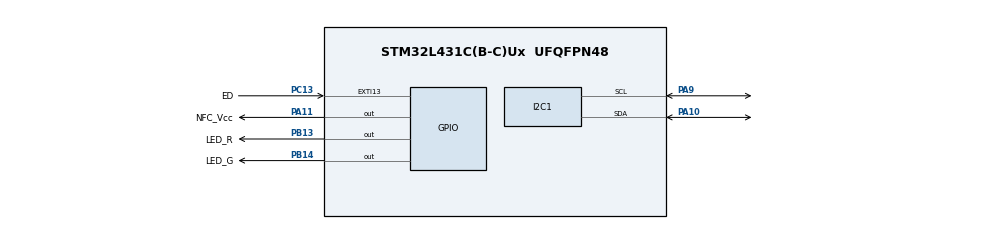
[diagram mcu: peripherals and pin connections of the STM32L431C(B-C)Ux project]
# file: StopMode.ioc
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I2C1.Timing=0x00100D14
Mcu.Family=STM32L4
Mcu.Name=STM32L431C(B-C)Ux
Mcu.Package=UFQFPN48
NVIC.EXTI15_10_IRQn=true\:0\:0\:false\:false\:true\:true\:true\:true
NVIC.PVD_PVM_IRQn=true\:0\:0\:false\:false\:true\:true\:true\:true
NVIC.PriorityGroup=NVIC_PRIORITYGROUP_4
PA10.Mode=I2C
PA10.Signal=I2C1_SDA
PA11.GPIO_Label=NFC_Vcc
PA11.Signal=GPIO_Output
PA9.Mode=I2C
PA9.Signal=I2C1_SCL
PB13.GPIO_Label=LED_R
PB13.Signal=GPIO_Output
PB14.GPIO_Label=LED_G
PB14.Signal=GPIO_Output
PC13.GPIO_Label=ED
PC13.GPIO_ModeDefaultEXTI=GPIO_MODE_IT_FALLING
PC13.Signal=GPXTI13
ProjectManager.HeapSize=0x200
ProjectManager.StackSize=0x400
ProjectManager.TargetToolchain=STM32CubeIDE
RCC.HSE_VALUE=8000000
RCC.HSI48_VALUE=48000000
RCC.HSI_VALUE=16000000
RCC.LSE_VALUE=32768
RCC.MSI_VALUE=4000000
RCC.VCOOutputFreq_Value=32000000
board=custom

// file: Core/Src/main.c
/* USER CODE BEGIN Header */
/**
  ******************************************************************************
  * @file           : main.c
  * @brief          : Main program body
  ******************************************************************************
  * @attention
  *
  * Copyright (c) 2025 STMicroelectronics.
  * All rights reserved.
  *
  * This software is licensed under terms that can be found in the LICENSE file
  * in the root directory of this software component.
  * If no LICENSE file comes with this software, it is provided AS-IS.
  *
  ******************************************************************************
  */
/* USER CODE END Header */
#include "main.h"

/* USER CODE BEGIN PD */
#define NTP_ADDRESS  0xA8
/* USER CODE END PD */

I2C_HandleTypeDef hi2c1;

/* USER CODE BEGIN PV */
uint8_t tx_buffer[6] = {0x10, 0x3D, 0b00001101, 0x00, 0x01, 0x00};
uint8_t rx_address[2] = {0x00, 0x02};
uint8_t rx_buffer[4];
/* USER CODE END PV */

void SystemClock_Config(void);
static void MX_GPIO_Init(void);
static void MX_I2C1_Init(void);

int main(void)
{

  /* MCU Configuration--------------------------------------------------------*/

  /* Reset of all peripherals, Initializes the Flash interface and the Systick. */
  HAL_Init();

  /* Configure the system clock */
  SystemClock_Config();

  /* Initialize all configured peripherals */
  MX_GPIO_Init();
  MX_I2C1_Init();
  /* USER CODE BEGIN 2 */

  HAL_GPIO_WritePin(LED_G_GPIO_Port, LED_G_Pin, 1);

  HAL_GPIO_WritePin(NFC_Vcc_GPIO_Port, NFC_Vcc_Pin, 1);

  //tx_buffer = {0x00, 0x02, 0xAA, 0xBB, 0xCC, 0xDD};
  HAL_I2C_Master_Transmit(&hi2c1, NTP_ADDRESS, tx_buffer, 6, 2); //HaL_MAX_DELAY
  HAL_Delay(2);// Mer än 1. Oklart varför

  //rx_address = {0x00, 0x02};
  HAL_I2C_Master_Transmit(&hi2c1, NTP_ADDRESS, rx_address, 2, 2);
  HAL_I2C_Master_Receive(&hi2c1, NTP_ADDRESS, rx_buffer, 4, 1);

  //*/

  HAL_GPIO_WritePin(NFC_Vcc_GPIO_Port, NFC_Vcc_Pin, 0);

  HAL_GPIO_WritePin(LED_R_GPIO_Port, LED_R_Pin, 1);

  HAL_GPIO_WritePin(LED_G_GPIO_Port, LED_G_Pin, 0);

  HAL_SuspendTick();
  HAL_PWREx_EnterSTOP2Mode(PWR_SLEEPENTRY_WFI);
  HAL_ResumeTick();
  HAL_GPIO_WritePin(LED_R_GPIO_Port, LED_R_Pin, 0);
  //HAL_GPIO_WritePin(LED_G_GPIO_Port, LED_G_Pin, 1);

  rx_address[0] = 0x00;
  rx_address[1] = 0x01;
  /* USER CODE END 2 */

  /* Infinite loop */
  while (1)
  {

    /* USER CODE BEGIN 3 */
	  /*
	  if(HAL_GPIO_ReadPin(ED_GPIO_Port, ED_Pin)){
		  HAL_GPIO_WritePin(LED_G_GPIO_Port, LED_G_Pin, 1);
	  } else {
		  HAL_GPIO_WritePin(LED_G_GPIO_Port, LED_G_Pin, 0);
	  }
	  // */
	  for( int i = 0 ; i < 10 ; ++i) {
		  //HAL_GPIO_TogglePin(LED_R_GPIO_Port, LED_R_Pin);
		  HAL_Delay(200);
	  }

	  HAL_I2C_Master_Transmit(&hi2c1, NTP_ADDRESS, rx_address, 2, 2);
	  HAL_I2C_Master_Receive(&hi2c1, NTP_ADDRESS, rx_buffer, 4, 1);
	  if (rx_buffer[0] == 0x00){
		  HAL_GPIO_TogglePin(LED_R_GPIO_Port, LED_R_Pin);
	  } else {

		  HAL_SuspendTick();
		  HAL_PWREx_EnterSTOP2Mode(PWR_SLEEPENTRY_WFI);
		  HAL_ResumeTick();
	  }

  }
  /* USER CODE END 3 */
}

void SystemClock_Config(void)
{
  RCC_OscInitTypeDef RCC_OscInitStruct = {0};
  RCC_ClkInitTypeDef RCC_ClkInitStruct = {0};

  /** Configure the main internal regulator output voltage
  */
  if (HAL_PWREx_ControlVoltageScaling(PWR_REGULATOR_VOLTAGE_SCALE1) != HAL_OK)
  {
    Error_Handler();
  }

  /** Initializes the RCC Oscillators according to the specified parameters
  * in the RCC_OscInitTypeDef structure.
  */
  RCC_OscInitStruct.OscillatorType = RCC_OSCILLATORTYPE_MSI;
  RCC_OscInitStruct.MSIState = RCC_MSI_ON;
  RCC_OscInitStruct.MSICalibrationValue = 0;
  RCC_OscInitStruct.MSIClockRange = RCC_MSIRANGE_6;
  RCC_OscInitStruct.PLL.PLLState = RCC_PLL_NONE;
  if (HAL_RCC_OscConfig(&RCC_OscInitStruct) != HAL_OK)
  {
    Error_Handler();
  }

  /** Initializes the CPU, AHB and APB buses clocks
  */
  RCC_ClkInitStruct.ClockType = RCC_CLOCKTYPE_HCLK|RCC_CLOCKTYPE_SYSCLK
                              |RCC_CLOCKTYPE_PCLK1|RCC_CLOCKTYPE_PCLK2;
  RCC_ClkInitStruct.SYSCLKSource = RCC_SYSCLKSOURCE_MSI;
  RCC_ClkInitStruct.AHBCLKDivider = RCC_SYSCLK_DIV1;
  RCC_ClkInitStruct.APB1CLKDivider = RCC_HCLK_DIV1;
  RCC_ClkInitStruct.APB2CLKDivider = RCC_HCLK_DIV1;

  if (HAL_RCC_ClockConfig(&RCC_ClkInitStruct, FLASH_LATENCY_0) != HAL_OK)
  {
    Error_Handler();
  }
  /* USER CODE BEGIN SystemClock_Config 0 */
  SCB->VTOR = FLASH_BASE | 0x00000000U;
  /* USER CODE END SystemClock_Config 0 */
}

static void MX_I2C1_Init(void)
{

  hi2c1.Instance = I2C1;
  hi2c1.Init.Timing = 0x00100D14;
  hi2c1.Init.OwnAddress1 = 0;
  hi2c1.Init.AddressingMode = I2C_ADDRESSINGMODE_7BIT;
  hi2c1.Init.DualAddressMode = I2C_DUALADDRESS_DISABLE;
  hi2c1.Init.OwnAddress2 = 0;
  hi2c1.Init.OwnAddress2Masks = I2C_OA2_NOMASK;
  hi2c1.Init.GeneralCallMode = I2C_GENERALCALL_DISABLE;
  hi2c1.Init.NoStretchMode = I2C_NOSTRETCH_DISABLE;
  if (HAL_I2C_Init(&hi2c1) != HAL_OK)
  {
    Error_Handler();
  }

  /** Configure Analogue filter
  */
  if (HAL_I2CEx_ConfigAnalogFilter(&hi2c1, I2C_ANALOGFILTER_ENABLE) != HAL_OK)
  {
    Error_Handler();
  }

  /** Configure Digital filter
  */
  if (HAL_I2CEx_ConfigDigitalFilter(&hi2c1, 0) != HAL_OK)
  {
    Error_Handler();
  }

}

static void MX_GPIO_Init(void)
{
  GPIO_InitTypeDef GPIO_InitStruct = {0};

  /* GPIO Ports Clock Enable */
  __HAL_RCC_GPIOC_CLK_ENABLE();
  __HAL_RCC_GPIOB_CLK_ENABLE();
  __HAL_RCC_GPIOA_CLK_ENABLE();

  /*Configure GPIO pin Output Level */
  HAL_GPIO_WritePin(GPIOB, LED_R_Pin|LED_G_Pin, GPIO_PIN_RESET);

  /*Configure GPIO pin Output Level */
  HAL_GPIO_WritePin(NFC_Vcc_GPIO_Port, NFC_Vcc_Pin, GPIO_PIN_RESET);

  /*Configure GPIO pin : ED_Pin */
  GPIO_InitStruct.Pin = ED_Pin;
  GPIO_InitStruct.Mode = GPIO_MODE_IT_FALLING;
  GPIO_InitStruct.Pull = GPIO_NOPULL;
  HAL_GPIO_Init(ED_GPIO_Port, &GPIO_InitStruct);

  /*Configure GPIO pins : LED_R_Pin LED_G_Pin */
  GPIO_InitStruct.Pin = LED_R_Pin|LED_G_Pin;
  GPIO_InitStruct.Mode = GPIO_MODE_OUTPUT_PP;
  GPIO_InitStruct.Pull = GPIO_NOPULL;
  GPIO_InitStruct.Speed = GPIO_SPEED_FREQ_LOW;
  HAL_GPIO_Init(GPIOB, &GPIO_InitStruct);

  /*Configure GPIO pin : NFC_Vcc_Pin */
  GPIO_InitStruct.Pin = NFC_Vcc_Pin;
  GPIO_InitStruct.Mode = GPIO_MODE_OUTPUT_PP;
  GPIO_InitStruct.Pull = GPIO_NOPULL;
  GPIO_InitStruct.Speed = GPIO_SPEED_FREQ_LOW;
  HAL_GPIO_Init(NFC_Vcc_GPIO_Port, &GPIO_InitStruct);

  /* EXTI interrupt init*/
  HAL_NVIC_SetPriority(EXTI15_10_IRQn, 0, 0);
  HAL_NVIC_EnableIRQ(EXTI15_10_IRQn);

}

/* USER CODE BEGIN 4 */
void HAL_GPIO_EXTI_Callback(uint16_t GPIO_Pin) {

	HAL_GPIO_WritePin(LED_R_GPIO_Port, LED_R_Pin, 0);
	if(GPIO_Pin == GPIO_PIN_13) {
		HAL_GPIO_WritePin(LED_R_GPIO_Port, LED_R_Pin, 0);
	  } else {
	      __NOP();
	  }

}
/* USER CODE END 4 */

void Error_Handler(void)
{
  __disable_irq();
  while (1)
  {
  }
}
